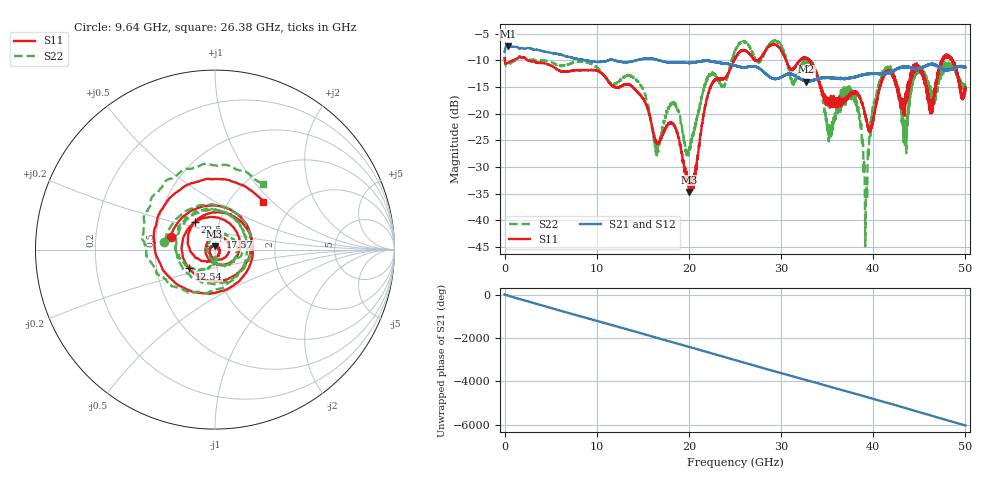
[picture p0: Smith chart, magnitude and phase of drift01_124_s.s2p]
!Created with skrf (http://scikit-rf.org).
# Hz S RI R 50.0
!freq ReS11 ImS11 ReS21 ImS21 ReS12 ImS12 ReS22 ImS22
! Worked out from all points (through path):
!   10001 points, 300 kHz to 50 GHz, reference 50 ohm
!   highest |S21| = -7.33 dB at 345.3 MHz (marker M1); lowest = -14.0 dB at 32.74 GHz (marker M2)
!   group delay of S21, straight-line fit = 335 ps
!   lowest |S11| = -34.7 dB at 20.01 GHz (marker M3), VSWR 1.04, Z = 49.8 + j1.83 ohm
!   |S11| at or under -10 dB: 2.553 GHz to 24.9 GHz (22.35 GHz wide, 163 % of centre); 30.53 GHz to 32.02 GHz (1.485 GHz wide, 4.75 % of centre); 33.07 GHz to 47.45 GHz (14.38 GHz wide, 35.7 % of centre) (the widest 3 of 18)
!   |S22| runs from -44.9 to -6.3 dB; largest |S21 - S12| = 0.011
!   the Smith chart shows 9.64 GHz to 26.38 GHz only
!   S11 on the Smith chart (normalised r, x): 9.64 GHz: 0.60, +0.09; 12.54 GHz: 0.73, -0.16; 17.57 GHz: 1.05, +0.15; 22.5 GHz: 0.77, +0.25; 26.38 GHz: 1.41, +0.88
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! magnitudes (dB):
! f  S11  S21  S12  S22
! 300 kHz  -9.5  -8.4  -8.5  -9.5
! 345.3 MHz  -10.5  -7.3  -7.3  -10.8
! 8.335 GHz  -11.8  -9.8  -9.8  -10.2
! 9.64 GHz  -11.8  -10.2  -10.2  -10.9
! 12.54 GHz  -14.9  -10.2  -10.2  -13.6
! 16.67 GHz  -25.7  -9.9  -9.9  -27.1
! 17.57 GHz  -22.3  -10.3  -10.3  -19.4
! 20.01 GHz  -34.7  -10.5  -10.5  -26.8
! 22.5 GHz  -14.4  -10.2  -10.2  -12.6
! 25 GHz  -9.6  -11.0  -11.0  -8.3
! 26.38 GHz  -8.4  -11.2  -11.3  -6.9
! 32.74 GHz  -9.7  -14.0  -13.9  -10.0
! 33.34 GHz  -10.6  -13.8  -13.8  -10.4
! 35.25 GHz  -17.9  -13.2  -13.2  -23.5
! 37.97 GHz  -15.9  -13.2  -13.2  -18.0
! 39.16 GHz  -20.3  -12.6  -12.6  -40.4
! 40.14 GHz  -19.9  -12.5  -12.5  -17.8
! 41.67 GHz  -11.9  -12.3  -12.3  -11.7
! 43.43 GHz  -18.2  -11.2  -11.3  -25.4
! 44.88 GHz  -11.1  -11.5  -11.6  -11.9
! 46.28 GHz  -18.0  -10.6  -10.6  -17.3
! 50 GHz  -15.5  -11.3  -11.3  -15.0
